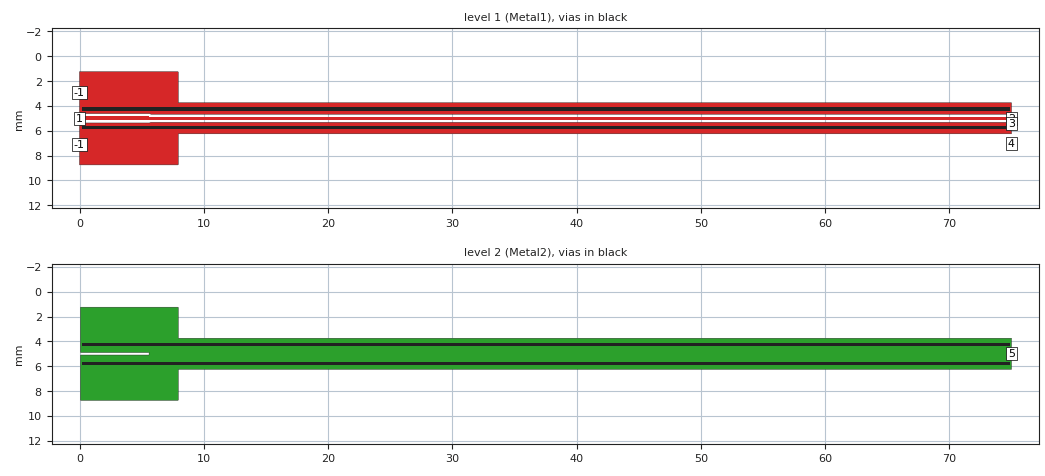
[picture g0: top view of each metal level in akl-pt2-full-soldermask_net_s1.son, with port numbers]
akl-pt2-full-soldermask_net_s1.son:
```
FTYP SONPROJ 18 ! Sonnet Project File
VER 17.56
HEADER
LIC antikernel2.1.50170 3cfdfeabd719 havequick azonenberg Level3Gold
DAT 01/07/2021 02:06:51
BUILT_BY_CREATED xgeom 17.56 12/23/2020 09:12:10
BUILT_BY_SAVED sonnet 17.56
MDATE 01/07/2021 02:05:51
HDATE 01/07/2021 02:05:51
ANN Created by dxfgeo, Sonnet Software Inc.
END HEADER
DIM
ANG DEG
CAP PF
CON /OH
FREQ GHZ
IND NH
LNG MM
RES OH
END DIM
CONTROL
ABS
OPTIONS  -dj
SPEED 1
CACHE_ABS 1
Q_ACC N
END CONTROL
GEO
TMET "Free Space" 0 FREESPACE 376.7303136 0 0 0
BMET "Free Space" 0 FREESPACE 376.7303136 0 0 0
MET "Copper 1oz thick" 1 TMM 58000000 0.5 0.035 2
MET "Copper 1oz" 2 NOR 58000000 0.5 0.035 
BOX 3 75 10 1200 800 20 0
      1 1 1 0 0 0 0 "Air"
      0.05 3.9 1 0.033 0 0 0 "Soldermask"
      0.1 3.3 1 0.005 0 0 0 "Panasonic F-777 42RV"
      1 1 1 0 0 0 0 "Air"
TECHLAY METAL Metal1 L1D0 -2 0 
1 0 0 T 865 1 1 100 100 0 0 0 Y
END
END
TECHLAY METAL Metal2 L2D0 -3 0 
2 0 1 N 874 1 1 100 100 0 0 0 Y
END
END
TECHLAY VIA Via1 L3D0 -4 0 
VIA POLYGON
2 0 -1 N 888 1 1 100 100 0 0 0 Y
TOLEVEL 1 RING NOCOVERS
END
END
LORGN 0 160 U 
POR1 BOX
POLY 841 1
0
1 50 0 0 0 -1.443289932e-15 5 
POR1 BOX
POLY 841 1
4
2 50 0 0 0 75 5 
POR1 BOX
POLY 844 1
13
-1 50 0 0 0 0 2.9 
POR1 BOX
POLY 844 1
40
3 50 0 0 0 75 4.2125 
POR1 BOX
POLY 847 1
13
4 50 0 0 0 75 5.7875 
POR1 BOX
POLY 847 1
39
-1 50 0 0 0 0 7.1 
POR1 BOX
POLY 850 1
13
5 50 0 0 0 75 5 
NUM 6
1 9 0 T 841 1 1 100 100 0 0 0 Y
TLAYNAM Metal1 INH
USER_DAT FromImport
-1.443289932e-15 5.15
-1.443289932e-15 4.85
5.6 4.85
5.6 4.9
75 4.9
75 5.1
5.6 5.1
5.6 5.15
-1.443289932e-15 5.15
END
1 43 0 T 844 1 1 100 100 0 0 0 Y
TLAYNAM Metal1 INH
7.95 3.75
7.95 1.293
7.949 1.288
7.947 1.283
7.945 1.279
7.943 1.274
7.937 1.266
7.934 1.263
7.926 1.257
7.921 1.255
7.917 1.253
7.912 1.251
7.907 1.25
0 1.25
0 4.55
0.2 4.55
0.2 4.581
0.201 4.586
0.203 4.591
0.205 4.595
0.207 4.6
0.213 4.608
0.216 4.611
0.224 4.617
0.229 4.619
0.233 4.621
0.238 4.623
0.243 4.624
5.607 4.624
5.644 4.628
5.692 4.643
5.694 4.644
5.723 4.66
5.725 4.661
5.729 4.665
5.733 4.668
5.738 4.67
5.742 4.672
5.747 4.674
5.752 4.675
75 4.675
75 3.75
7.95 3.75
END
1 43 0 T 847 1 1 100 100 0 0 0 Y
TLAYNAM Metal1 INH
7.912 8.749
7.917 8.747
7.921 8.745
7.926 8.743
7.934 8.737
7.937 8.734
7.943 8.726
7.945 8.721
7.947 8.717
7.949 8.712
7.95 8.707
7.95 6.251
7.951 6.25
75 6.25
75 5.325
5.752 5.325
5.747 5.326
5.742 5.328
5.738 5.33
5.733 5.332
5.73 5.335
5.726 5.337
5.725 5.338
5.683 5.36
5.645 5.371
5.593 5.376
0.243 5.376
0.238 5.377
0.233 5.379
0.229 5.381
0.224 5.383
0.216 5.389
0.213 5.392
0.207 5.4
0.205 5.405
0.203 5.409
0.201 5.414
0.2 5.419
0.2 5.45
0 5.45
0 8.75
7.907 8.75
7.912 8.749
END
2 83 1 N 850 1 1 100 100 0 0 0 Y
TLAYNAM Metal2 INH
7.912 8.749
7.917 8.747
7.921 8.745
7.926 8.743
7.934 8.737
7.937 8.734
7.943 8.726
7.945 8.721
7.947 8.717
7.949 8.712
7.95 8.707
7.95 6.251
7.951 6.25
75 6.25
75 3.75
7.95 3.75
7.95 1.293
7.949 1.288
7.947 1.283
7.945 1.279
7.943 1.274
7.937 1.266
7.934 1.263
7.926 1.257
7.921 1.255
7.917 1.253
7.912 1.251
7.907 1.25
0.118 1.25
0.113 1.251
0.108 1.253
0.104 1.255
0.099 1.257
0.091 1.263
0.088 1.266
0.082 1.274
0.08 1.279
0.078 1.283
0.076 1.288
0.075 1.293
0.075 4.857
0.076 4.862
0.078 4.867
0.08 4.871
0.082 4.876
0.088 4.884
0.091 4.887
0.099 4.893
0.104 4.895
0.108 4.897
0.113 4.899
0.118 4.9
5.599 4.9
5.599 4.901
5.6 4.901
5.6 5.099
5.599 5.1
0.118 5.1
0.113 5.101
0.108 5.103
0.104 5.105
0.099 5.107
0.091 5.113
0.088 5.116
0.082 5.124
0.08 5.129
0.078 5.133
0.076 5.138
0.075 5.143
0.075 8.707
0.076 8.712
0.078 8.717
0.08 8.721
0.082 8.726
0.088 8.734
0.091 8.737
0.099 8.743
0.104 8.745
0.108 8.747
0.113 8.749
0.118 8.75
7.907 8.75
7.912 8.749
END
VIA POLYGON
2 5 -1 N 852 1 1 100 100 0 0 0 Y
TOLEVEL 1 RING NOCOVERS
TLAYNAM Via1 INH
USER_DAT FromImport
0.2 4.375
0.2 4.125
74.9 4.125
74.9 4.375
0.2 4.375
END
VIA POLYGON
2 5 -1 N 853 1 1 100 100 0 0 0 Y
TOLEVEL 1 RING NOCOVERS
TLAYNAM Via1 INH
USER_DAT FromImport
0.2 5.875
0.2 5.625
74.9 5.625
74.9 5.875
0.2 5.875
END
END GEO
OPT
MAX 100
END OPT
VARSWP
ENABLED Y
FREQ Y AY ABS_ENTRY 0.1 10.0 -1 300 
END
END VARSWP
```
